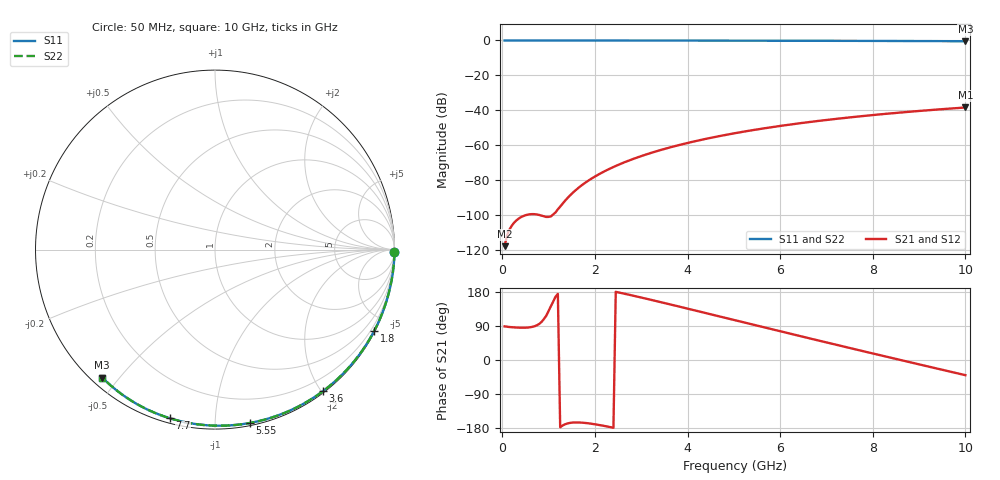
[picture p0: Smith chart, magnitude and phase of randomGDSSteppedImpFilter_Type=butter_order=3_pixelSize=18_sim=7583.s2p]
! freq	dB(S11)	phase(S11)	dB(S12)	phase(S12)
!  dB(S21)	phase(S21)	dB(S22)	phase(S22)
!S-par simulation data
#  GHz  S  DB  R 50
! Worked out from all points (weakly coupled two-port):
!   200 points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, 50 MHz to 10 GHz, reference 50 ohm
!   highest |S21| = -38.48 dB at 10 GHz (marker M1); lowest = -118.1 dB at 50 MHz (marker M2)
!   lowest |S11| = -0.4 dB at 10 GHz (marker M3), VSWR 39.17, Z = 1.54 - j22.6 ohm
!   |S11| at or under -10 dB: nowhere
!   |S22| runs from -0.4 to 0.0 dB; largest |S21 - S12| = 0
!   S11 on the Smith chart (normalised r, x): 50 MHz: open; 1.8 GHz: 0.04, -4.18; 3.6 GHz: 0.02, -2.02; 5.55 GHz: 0.02, -1.22; 7.7 GHz: 0.02, -0.77; 10 GHz: 0.03, -0.45
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0.05  -0.00 -0.8  -118.09 88.7  -118.09 88.7  -0.00 -0.8
0.9  -0.02 -13.6  -101.00 108.3  -101.00 108.3  -0.02 -13.6
1.75  -0.03 -26.2  -82.45 -165.6  -82.45 -165.6  -0.03 -26.2
1.8  -0.03 -26.9  -81.50 -166.2  -81.50 -166.2  -0.03 -26.9
1.85  -0.04 -27.7  -80.60 -166.9  -80.60 -166.9  -0.04 -27.7
1.9  -0.04 -28.4  -79.74 -167.7  -79.74 -167.7  -0.04 -28.4
2.05  -0.04 -30.6  -77.34 -170.6  -77.34 -170.6  -0.04 -30.6
2.25  -0.04 -33.5  -74.52 -175.1  -74.52 -175.1  -0.04 -33.5
2.45  -0.05 -36.4  -72.03 179.9  -72.03 179.9  -0.05 -36.4
2.65  -0.05 -39.3  -69.80 174.6  -69.80 174.6  -0.05 -39.3
3  -0.06 -44.3  -66.38 164.9  -66.38 164.9  -0.06 -44.3
3.4  -0.07 -49.9  -63.04 153.3  -63.04 153.3  -0.07 -49.9
3.6  -0.07 -52.7  -61.55 147.5  -61.55 147.5  -0.07 -52.7
4.3  -0.09 -62.2  -57.03 126.7  -57.03 126.7  -0.09 -62.2
5.05  -0.11 -72.2  -53.10 104.2  -53.10 104.2  -0.11 -72.2
5.55  -0.13 -78.7  -50.87 89.3  -50.87 89.3  -0.13 -78.7
6.1  -0.15 -85.6  -48.70 72.9  -48.70 72.9  -0.15 -85.6
6.7  -0.18 -93.0  -46.60 55.2  -46.60 55.2  -0.18 -93.0
7.7  -0.24 -105.0  -43.62 25.9  -43.62 25.9  -0.24 -105.0
8.35  -0.29 -112.6  -41.95 7.1  -41.95 7.1  -0.29 -112.6
9.15  -0.36 -121.8  -40.15 -15.8  -40.15 -15.8  -0.36 -121.8
10  -0.44 -131.4  -38.48 -40.0  -38.48 -40.0  -0.44 -131.4
